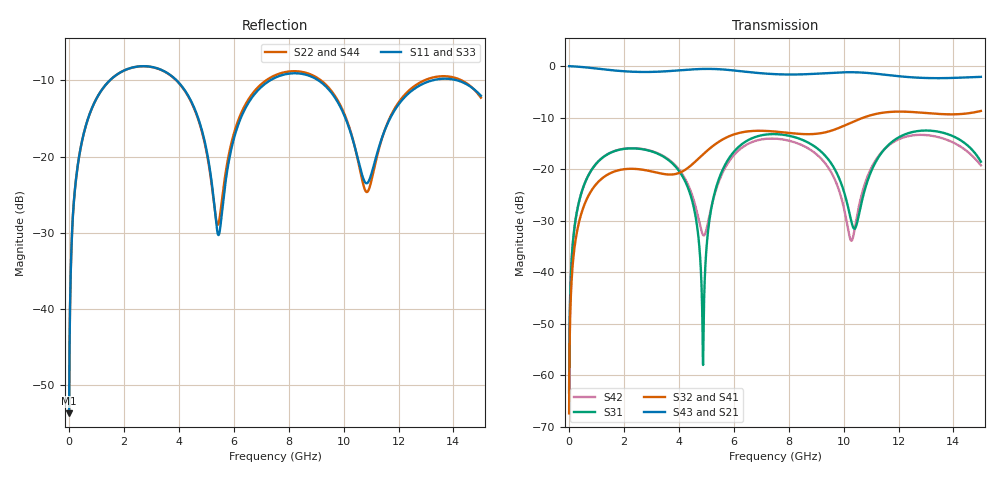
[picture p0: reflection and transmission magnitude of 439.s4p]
! Created with skrf 1.8.0 (http://scikit-rf.org).
# GHz S RI R 50.0
!freq ReS11 ImS11 ReS12 ImS12 ReS13 ImS13
! ReS14 ImS14
! ReS21 ImS21 ReS22 ImS22 ReS23 ImS23
! ReS24 ImS24
! ReS31 ImS31 ReS32 ImS32 ReS33 ImS33
! ReS34 ImS34
! ReS41 ImS41 ReS42 ImS42 ReS43 ImS43
! ReS44 ImS44
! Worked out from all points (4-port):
!   2499 points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, 5 MHz to 15 GHz, reference 50 ohm
!   strongest paths, dB at 5 MHz, 3.476 GHz, 7.19 GHz, 11.1 GHz, 15 GHz:
!     S43: 0.0, -1.0, -1.5, -1.4, -2.1
!     S21: 0.0, -1.0, -1.5, -1.4, -2.1
!     S32: -67.4, -21.0, -12.6, -9.4, -8.7
!     S41: -67.4, -21.0, -12.6, -9.4, -8.7
!     S31: -63.3, -17.7, -13.3, -19.3, -18.5
!     S42: -63.3, -17.6, -14.1, -18.9, -19.3
!   lowest |S11| = -53.7 dB at 5 MHz (marker M1), VSWR 1.00, Z = 50.2 + j0.126 ohm
!   |S11| at or under -10 dB: start of sweep to 1.485 GHz; 3.922 GHz to 7.321 GHz (3.4 GHz wide, 60.5 % of centre); 9.086 GHz to 13.22 GHz (4.138 GHz wide, 37.1 % of centre) (the widest 3 of 4)
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0.005  0.00165 0.00125  0.9983 -0.00322  8.38e-05 0.000677  -8.13e-05 -0.000421
       0.9983 -0.00322  0.00165 0.00125  -8.13e-05 -0.000421  8.38e-05 0.000677
       8.38e-05 0.000677  -8.13e-05 -0.000421  0.00165 0.00125  0.9983 -0.00322
       -8.13e-05 -0.000421  8.38e-05 0.000677  0.9983 -0.00322  0.00165 0.00125
0.3126303  0.0244 0.0824  0.9667 -0.2001  0.0115 0.0401  -0.00954 -0.0247
           0.9667 -0.2001  0.0244 0.0824  -0.00955 -0.0247  0.0115 0.0401
           0.0115 0.0401  -0.00955 -0.0247  0.0244 0.0824  0.9667 -0.2001
           -0.00954 -0.0247  0.0115 0.0401  0.9667 -0.2001  0.0244 0.0824
1.519383  0.2658 0.1791  0.558 -0.7241  0.1292 0.0651  -0.0914 -0.00773
          0.558 -0.7241  0.2656 0.1791  -0.0916 -0.00759  0.13 0.064
          0.1292 0.0651  -0.0916 -0.00759  0.2657 0.1791  0.558 -0.7241
          -0.0914 -0.00773  0.13 0.064  0.558 -0.7241  0.2656 0.179
4.883285  0.0677 -0.1217  -0.8631 -0.368  0.00118 0.000443  -0.0515 0.1293
          -0.8631 -0.368  0.0703 -0.1168  -0.0494 0.1302  -0.0212 -0.00891
          0.00118 0.000443  -0.0494 0.1302  0.0684 -0.1203  -0.8633 -0.368
          -0.0515 0.1293  -0.0212 -0.00891  -0.8633 -0.368  0.0687 -0.1163
5.739892  0.0473 0.0599  -0.9141 0.1157  0.0545 0.1036  0.0374 0.2
          -0.9141 0.1157  0.0553 0.0658  0.0404 0.1994  0.0213 0.1073
          0.0545 0.1036  0.0404 0.1994  0.0487 0.0603  -0.9141 0.1156
          0.0374 0.2  0.0213 0.1073  -0.9141 0.1156  0.054 0.0672
8.484785  0.3467 -0.0428  0.0245 0.8307  0.1605 -0.1076  0.2047 -0.0739
          0.0245 0.8307  0.3548 -0.06  0.2044 -0.0795  0.1569 -0.0679
          0.1605 -0.1076  0.2044 -0.0795  0.3445 -0.041  0.0234 0.8313
          0.2047 -0.0739  0.1569 -0.0679  0.0234 0.8313  0.3544 -0.0602
15  0.2234 -0.1144  -0.3911 -0.6813  0.0288 -0.1146  -0.3061 0.2012
    -0.3911 -0.6813  0.1999 -0.1398  -0.2973 0.2157  0.00181 -0.109
    0.0288 -0.1146  -0.2973 0.2157  0.222 -0.1093  -0.3869 -0.6846
    -0.3061 0.2012  0.00181 -0.109  -0.3869 -0.6846  0.1984 -0.1388
